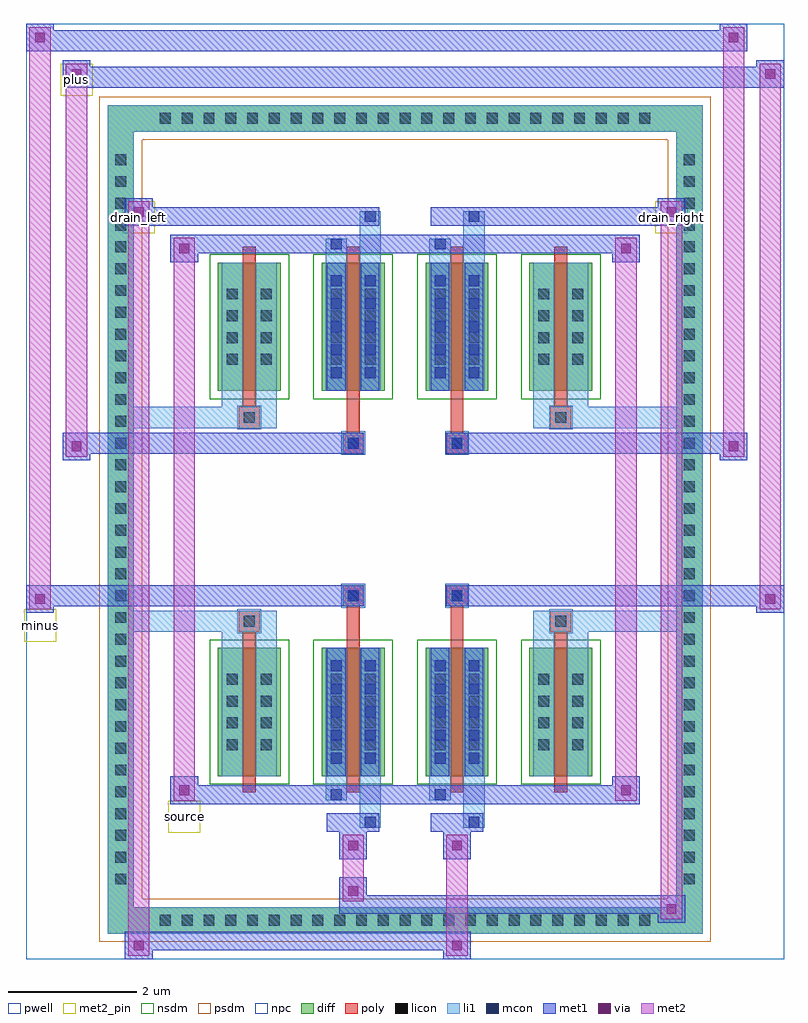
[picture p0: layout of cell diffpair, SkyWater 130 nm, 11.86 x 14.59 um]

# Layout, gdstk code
import gdstk
lib = gdstk.Library(unit=1e-6, precision=5e-09)
def R(c, l, rs):  # rectangles x0, y0, x1, y1
    for r in rs: c.add(gdstk.rectangle(r[:2], r[2:], *l))
def A(c, l, x, y, w, h, nx, ny, dx, dy):  # array of equal rectangles
    R(c, l, [(x+i*dx, y+j*dy, x+i*dx+w, y+j*dy+h) for i in range(nx) for j in range(ny)])
def P(c, l, *ps):  # polygons
    for p in ps: c.add(gdstk.Polygon(p, *l))
pwell = (64, 44)
diff = (65, 20)
poly = (66, 20)
licon = (66, 44)
li1 = (67, 20)
mcon = (67, 44)
met1 = (68, 20)
via = (68, 44)
met2_pin = (69, 16)
met2 = (69, 20)
nsdm = (93, 44)
psdm = (94, 20)
npc = (95, 20)

diffpair = lib.new_cell('diffpair')
R(diffpair, pwell, [(-5.91,-6.86,5.91,7.73), (-3.23,-5.05,-0.01,-0.825), (0.01,-5.05,3.23,-0.825), (-3.23,0.825,-0.01,5.05), (0.01,0.825,3.23,5.05)])
A(diffpair, diff, -3.945, -6.46, 0.41, 0.41, 23, 2, 0.34, 12.51)
A(diffpair, diff, -4.64, -5.815, 0.41, 0.41, 1, 34, 0, 0.34)
A(diffpair, diff, 4.23, -5.815, 0.41, 0.41, 1, 34, 0, 0.34)
A(diffpair, diff, -2.92, -4.005, 0.98, 2, 4, 2, 1.62, 6.01)
R(diffpair, diff, [(-3.945,-6.46,3.945,-6.05), (-4.64,-5.815,-4.23,5.815), (4.23,-5.815,4.64,5.815), (-3.945,6.05,3.945,6.46)])
P(diffpair, diff, [(4.64,6.46),(-4.64,6.46),(-4.64,-6.05),(-4.23,-6.05),(-4.23,6.05),(4.23,6.05),(4.23,-6.05),(-4.23,-6.05),(-4.64,-6.05),(-4.64,-6.46),(4.64,-6.46)])
A(diffpair, poly, -2.53, -4.255, 0.2, 2.5, 4, 2, 1.62, 6.01)
R(diffpair, poly, [(-2.595,-1.755,-2.265,-1.425), (-2.595,-1.755,-2.265,-1.425), (-0.91,-1.755,-0.71,-1.355), (0.71,-1.755,0.91,-1.355), (2.265,-1.755,2.595,-1.425), (2.265,-1.755,2.595,-1.425), (-0.975,-1.355,-0.645,-1.025), (-0.975,-1.355,-0.645,-1.025), (0.645,-1.355,0.975,-1.025), (0.645,-1.355,0.975,-1.025), (-0.975,1.025,-0.645,1.355), (-0.975,1.025,-0.645,1.355), (0.645,1.025,0.975,1.355), (0.645,1.025,0.975,1.355), (-0.91,1.355,-0.71,1.755), (0.71,1.355,0.91,1.755), (-2.595,1.425,-2.265,1.755), (-2.595,1.425,-2.265,1.755), (2.265,1.425,2.595,1.755), (2.265,1.425,2.595,1.755)])
A(diffpair, licon, -3.825, -6.34, 0.17, 0.17, 23, 2, 0.34, 12.51)
A(diffpair, licon, -4.52, -5.695, 0.17, 0.17, 1, 34, 0, 0.34)
A(diffpair, licon, 4.35, -5.695, 0.17, 0.17, 1, 34, 0, 0.34)
A(diffpair, licon, -2.78, -3.6, 0.17, 0.17, 1, 4, 0, 0.34)
A(diffpair, licon, -2.25, -3.6, 0.17, 0.17, 1, 4, 0, 0.34)
A(diffpair, licon, -1.16, -3.6, 0.17, 0.17, 1, 4, 0, 0.34)
A(diffpair, licon, -0.63, -3.6, 0.17, 0.17, 1, 4, 0, 0.34)
A(diffpair, licon, 0.46, -3.6, 0.17, 0.17, 1, 4, 0, 0.34)
A(diffpair, licon, 0.99, -3.6, 0.17, 0.17, 1, 4, 0, 0.34)
A(diffpair, licon, 2.08, -3.6, 0.17, 0.17, 1, 4, 0, 0.34)
A(diffpair, licon, 2.61, -3.6, 0.17, 0.17, 1, 4, 0, 0.34)
A(diffpair, licon, -2.78, 2.41, 0.17, 0.17, 1, 4, 0, 0.34)
A(diffpair, licon, -2.25, 2.41, 0.17, 0.17, 1, 4, 0, 0.34)
A(diffpair, licon, -1.16, 2.41, 0.17, 0.17, 1, 4, 0, 0.34)
A(diffpair, licon, -0.63, 2.41, 0.17, 0.17, 1, 4, 0, 0.34)
A(diffpair, licon, 0.46, 2.41, 0.17, 0.17, 1, 4, 0, 0.34)
A(diffpair, licon, 0.99, 2.41, 0.17, 0.17, 1, 4, 0, 0.34)
A(diffpair, licon, 2.08, 2.41, 0.17, 0.17, 1, 4, 0, 0.34)
A(diffpair, licon, 2.61, 2.41, 0.17, 0.17, 1, 4, 0, 0.34)
R(diffpair, licon, [(-2.515,-1.675,-2.345,-1.505), (2.345,-1.675,2.515,-1.505), (-0.895,-1.275,-0.725,-1.105), (0.725,-1.275,0.895,-1.105), (-0.895,1.105,-0.725,1.275), (0.725,1.105,0.895,1.275), (-2.515,1.505,-2.345,1.675), (2.345,1.505,2.515,1.675)])
A(diffpair, li1, -3.905, -6.42, 0.33, 0.33, 23, 2, 0.34, 12.51)
A(diffpair, li1, -4.6, -5.775, 0.33, 0.33, 1, 34, 0, 0.34)
A(diffpair, li1, 4.27, -5.775, 0.33, 0.33, 1, 34, 0, 0.34)
A(diffpair, li1, -1.16, -3.81, 0.17, 0.17, 1, 5, 0, 0.36)
A(diffpair, li1, -0.63, -3.81, 0.17, 0.17, 1, 5, 0, 0.36)
A(diffpair, li1, 0.46, -3.81, 0.17, 0.17, 1, 5, 0, 0.36)
A(diffpair, li1, 0.99, -3.81, 0.17, 0.17, 1, 5, 0, 0.36)
A(diffpair, li1, -2.86, -3.68, 0.33, 0.33, 1, 4, 0, 0.34)
A(diffpair, li1, -2.33, -3.68, 0.33, 0.33, 1, 4, 0, 0.34)
A(diffpair, li1, -1.24, -3.68, 0.33, 0.33, 1, 4, 0, 0.34)
A(diffpair, li1, -0.71, -3.68, 0.33, 0.33, 1, 4, 0, 0.34)
A(diffpair, li1, 0.38, -3.68, 0.33, 0.33, 1, 4, 0, 0.34)
A(diffpair, li1, 0.91, -3.68, 0.33, 0.33, 1, 4, 0, 0.34)
A(diffpair, li1, 2, -3.68, 0.33, 0.33, 1, 4, 0, 0.34)
A(diffpair, li1, 2.53, -3.68, 0.33, 0.33, 1, 4, 0, 0.34)
A(diffpair, li1, -1.16, 2.2, 0.17, 0.17, 1, 5, 0, 0.36)
A(diffpair, li1, -0.63, 2.2, 0.17, 0.17, 1, 5, 0, 0.36)
A(diffpair, li1, 0.46, 2.2, 0.17, 0.17, 1, 5, 0, 0.36)
A(diffpair, li1, 0.99, 2.2, 0.17, 0.17, 1, 5, 0, 0.36)
A(diffpair, li1, -2.86, 2.33, 0.33, 0.33, 1, 4, 0, 0.34)
A(diffpair, li1, -2.33, 2.33, 0.33, 0.33, 1, 4, 0, 0.34)
A(diffpair, li1, -1.24, 2.33, 0.33, 0.33, 1, 4, 0, 0.34)
A(diffpair, li1, -0.71, 2.33, 0.33, 0.33, 1, 4, 0, 0.34)
A(diffpair, li1, 0.38, 2.33, 0.33, 0.33, 1, 4, 0, 0.34)
A(diffpair, li1, 0.91, 2.33, 0.33, 0.33, 1, 4, 0, 0.34)
A(diffpair, li1, 2, 2.33, 0.33, 0.33, 1, 4, 0, 0.34)
A(diffpair, li1, 2.53, 2.33, 0.33, 0.33, 1, 4, 0, 0.34)
R(diffpair, li1, [(-4.64,-6.46,-4.23,-6.05), (-4.64,-6.46,-4.23,-6.05), (-4.23,-6.46,4.23,-6.05), (4.23,-6.46,4.64,-6.05), (4.23,-6.46,4.64,-6.05), (-4.64,-6.05,-4.23,6.05), (4.23,-6.05,4.64,6.05), (-0.71,-4.81,-0.38,-4.005), (-0.63,-4.81,-0.46,-4.64), (0.91,-4.81,1.24,-4.005), (0.99,-4.81,1.16,-4.64), (-1.24,-4.38,-0.91,-4.005), (-1.16,-4.38,-0.99,-4.21), (0.38,-4.38,0.71,-4.005), (0.46,-4.38,0.63,-4.21), (-2.86,-4.005,-2.53,-2.005), (-2.33,-4.005,-2,-2.005), (-1.24,-4.005,-0.91,-2.005), (-0.71,-4.005,-0.38,-2.005), (0.38,-4.005,0.71,-2.005), (0.91,-4.005,1.24,-2.005), (2,-4.005,2.33,-2.005), (2.53,-4.005,2.86,-2.005), (-1.16,-3.81,-0.99,-2.2), (-0.63,-3.81,-0.46,-2.2), (0.46,-3.81,0.63,-2.2), (0.99,-3.81,1.16,-2.2), (-2.86,-2.005,-2.53,-1.425), (-2.33,-2.005,-2,-1.425), (2,-2.005,2.33,-1.425), (2.53,-2.005,2.86,-1.425), (-4.64,-1.755,-2.595,-1.425), (-2.86,-1.755,-2.595,-1.425), (-2.595,-1.755,-2.265,-1.425), (-2.265,-1.755,-2,-1.425), (2,-1.755,2.265,-1.425), (2.265,-1.755,2.595,-1.425), (2.265,-1.755,4.64,-1.425), (2.595,-1.755,2.86,-1.425), (-0.975,-1.355,-0.645,-1.025), (0.645,-1.355,0.975,-1.025), (-0.975,1.025,-0.645,1.355), (0.645,1.025,0.975,1.355), (-4.64,1.425,-2.595,1.755), (-2.86,1.425,-2.595,1.755), (-2.86,1.425,-2.53,2.005), (-2.595,1.425,-2.265,1.755), (-2.33,1.425,-2,2.005), (-2.265,1.425,-2,1.755), (2,1.425,2.265,1.755), (2,1.425,2.33,2.005), (2.265,1.425,2.595,1.755), (2.265,1.425,4.64,1.755), (2.53,1.425,2.86,2.005), (2.595,1.425,2.86,1.755), (-2.86,2.005,-2.53,4.005), (-2.33,2.005,-2,4.005), (-1.24,2.005,-0.91,4.005), (-0.71,2.005,-0.38,4.005), (0.38,2.005,0.71,4.005), (0.91,2.005,1.24,4.005), (2,2.005,2.33,4.005), (2.53,2.005,2.86,4.005), (-1.16,2.2,-0.99,3.81), (-0.63,2.2,-0.46,3.81), (0.46,2.2,0.63,3.81), (0.99,2.2,1.16,3.81), (-1.24,4.005,-0.91,4.38), (-0.71,4.005,-0.38,4.81), (0.38,4.005,0.71,4.38), (0.91,4.005,1.24,4.81), (-1.16,4.21,-0.99,4.38), (0.46,4.21,0.63,4.38), (-0.63,4.64,-0.46,4.81), (0.99,4.64,1.16,4.81), (-4.64,6.05,-4.23,6.46), (-4.64,6.05,-4.23,6.46), (-4.23,6.05,4.23,6.46), (4.23,6.05,4.64,6.46), (4.23,6.05,4.64,6.46)])
A(diffpair, mcon, -1.16, -3.81, 0.17, 0.17, 1, 5, 0, 0.36)
A(diffpair, mcon, -0.63, -3.81, 0.17, 0.17, 1, 5, 0, 0.36)
A(diffpair, mcon, 0.46, -3.81, 0.17, 0.17, 1, 5, 0, 0.36)
A(diffpair, mcon, 0.99, -3.81, 0.17, 0.17, 1, 5, 0, 0.36)
A(diffpair, mcon, -1.16, 2.2, 0.17, 0.17, 1, 5, 0, 0.36)
A(diffpair, mcon, -0.63, 2.2, 0.17, 0.17, 1, 5, 0, 0.36)
A(diffpair, mcon, 0.46, 2.2, 0.17, 0.17, 1, 5, 0, 0.36)
A(diffpair, mcon, 0.99, 2.2, 0.17, 0.17, 1, 5, 0, 0.36)
R(diffpair, mcon, [(-0.63,-4.81,-0.46,-4.64), (0.99,-4.81,1.16,-4.64), (-1.16,-4.38,-0.99,-4.21), (0.46,-4.38,0.63,-4.21), (-0.895,-1.275,-0.725,-1.105), (0.725,-1.275,0.895,-1.105), (-0.895,1.105,-0.725,1.275), (0.725,1.105,0.895,1.275), (-1.16,4.21,-0.99,4.38), (0.46,4.21,0.63,4.38), (-0.63,4.64,-0.46,4.81), (0.99,4.64,1.16,4.81)])
A(diffpair, met1, -1.22, -3.87, 0.29, 0.29, 1, 5, 0, 0.36)
A(diffpair, met1, -0.69, -3.87, 0.29, 0.29, 1, 5, 0, 0.36)
A(diffpair, met1, 0.4, -3.87, 0.29, 0.29, 1, 5, 0, 0.36)
A(diffpair, met1, 0.93, -3.87, 0.29, 0.29, 1, 5, 0, 0.36)
A(diffpair, met1, -1.22, 2.14, 0.29, 0.29, 1, 5, 0, 0.36)
A(diffpair, met1, -0.69, 2.14, 0.29, 0.29, 1, 5, 0, 0.36)
A(diffpair, met1, 0.4, 2.14, 0.29, 0.29, 1, 5, 0, 0.36)
A(diffpair, met1, 0.93, 2.14, 0.29, 0.29, 1, 5, 0, 0.36)
R(diffpair, met1, [(-4.37,-6.86,-3.94,-6.43), (0.595,-6.86,1.025,-6.43), (-4.37,-6.72,1.025,-6.43), (3.94,-6.29,4.37,-5.86), (-1.025,-6.15,4.37,-5.86), (-1.025,-6.01,-0.595,-5.58), (-1.025,-5.3,-0.595,-4.87), (0.595,-5.3,1.025,-4.87), (-1.22,-4.87,-0.4,-4.58), (-0.69,-4.87,-0.4,-4.58), (0.4,-4.87,1.22,-4.58), (0.93,-4.87,1.22,-4.58), (-3.66,-4.44,-3.23,-4.01), (-3.66,-4.44,-1.22,-4.15), (-1.22,-4.44,-0.93,-4.15), (-1.22,-4.44,-0.4,-4.15), (-0.4,-4.44,0.4,-4.15), (0.4,-4.44,0.69,-4.15), (0.4,-4.44,1.22,-4.15), (1.22,-4.44,3.66,-4.15), (3.23,-4.44,3.66,-4.01), (-1.22,-4.005,-0.93,-2.005), (-0.69,-4.005,-0.4,-2.005), (0.4,-4.005,0.69,-2.005), (0.93,-4.005,1.22,-2.005), (-5.91,-1.455,-5.48,-1.025), (5.48,-1.455,5.91,-1.025), (-5.91,-1.355,-0.645,-1.025), (-0.975,-1.355,-0.645,-1.025), (0.645,-1.355,0.975,-1.025), (0.645,-1.355,5.91,-1.025), (-0.955,-1.335,-0.665,-1.045), (0.665,-1.335,0.955,-1.045), (-5.34,0.925,-4.91,1.355), (4.91,0.925,5.34,1.355), (-5.34,1.025,-0.975,1.355), (-0.975,1.025,-0.645,1.355), (0.645,1.025,0.975,1.355), (0.975,1.025,5.34,1.355), (-0.955,1.045,-0.665,1.335), (0.665,1.045,0.955,1.335), (-1.22,2.005,-0.93,4.005), (-0.69,2.005,-0.4,4.005), (0.4,2.005,0.69,4.005), (0.93,2.005,1.22,4.005), (-3.66,4.01,-3.23,4.44), (3.23,4.01,3.66,4.44), (-3.66,4.15,-1.22,4.44), (-1.22,4.15,-0.93,4.44), (-1.22,4.15,-0.4,4.44), (-0.4,4.15,0.4,4.44), (0.4,4.15,0.69,4.44), (0.4,4.15,1.22,4.44), (1.22,4.15,3.66,4.44), (-4.37,4.58,-3.94,5.01), (-4.37,4.58,-1.22,4.87), (-1.22,4.58,-0.4,4.87), (-0.69,4.58,-0.4,4.87), (0.4,4.58,1.22,4.87), (0.93,4.58,1.22,4.87), (1.22,4.58,4.37,4.87), (3.94,4.58,4.37,5.01), (-5.34,6.73,-4.91,7.16), (-5.34,6.73,-3.23,7.06), (-3.23,6.73,3.23,7.06), (3.23,6.73,5.91,7.06), (5.48,6.73,5.91,7.16), (-5.91,7.3,-5.48,7.73), (-5.91,7.3,-3.23,7.63), (-3.23,7.3,3.23,7.63), (3.23,7.3,5.34,7.63), (4.91,7.3,5.34,7.73)])
R(diffpair, via, [(-4.23,-6.72,-4.08,-6.57), (0.735,-6.72,0.885,-6.57), (4.08,-6.15,4.23,-6), (-0.885,-5.87,-0.735,-5.72), (-0.885,-5.16,-0.735,-5.01), (0.735,-5.16,0.885,-5.01), (-3.52,-4.3,-3.37,-4.15), (3.37,-4.3,3.52,-4.15), (-5.77,-1.315,-5.62,-1.165), (5.62,-1.315,5.77,-1.165), (-5.2,1.065,-5.05,1.215), (5.05,1.065,5.2,1.215), (-3.52,4.15,-3.37,4.3), (3.37,4.15,3.52,4.3), (-4.23,4.72,-4.08,4.87), (4.08,4.72,4.23,4.87), (-5.2,6.87,-5.05,7.02), (5.62,6.87,5.77,7.02), (-5.77,7.44,-5.62,7.59), (5.05,7.44,5.2,7.59)])
R(diffpair, met2_pin, [(-3.695,-4.89,-3.195,-4.39), (-5.945,-1.905,-5.445,-1.405), (-4.405,4.46,-3.905,4.96), (3.905,4.46,4.405,4.96), (-5.375,6.61,-4.875,7.11)])
R(diffpair, met2, [(-4.32,-6.81,-3.99,-6.48), (-4.32,-6.81,-3.99,4.96), (0.645,-6.81,0.975,-6.48), (0.645,-6.48,0.975,-5.25), (3.99,-6.24,4.32,-5.91), (3.99,-6.24,4.32,4.96), (-0.975,-5.96,-0.645,-5.63), (-0.975,-5.63,-0.645,-5.25), (-0.975,-5.25,-0.645,-4.92), (0.645,-5.25,0.975,-4.92), (-3.61,-4.39,-3.28,-4.06), (-3.61,-4.39,-3.28,4.39), (3.28,-4.39,3.61,-4.06), (3.28,-4.39,3.61,4.39), (-5.86,-1.405,-5.53,-1.075), (-5.86,-1.405,-5.53,7.68), (5.53,-1.405,5.86,-1.075), (5.53,-1.405,5.86,7.11), (-5.29,0.975,-4.96,1.305), (-5.29,0.975,-4.96,7.11), (4.96,0.975,5.29,1.305), (4.96,0.975,5.29,7.68), (-3.61,4.06,-3.28,4.39), (3.28,4.06,3.61,4.39), (-4.32,4.63,-3.99,4.96), (3.99,4.63,4.32,4.96), (-5.29,6.78,-4.96,7.11), (5.53,6.78,5.86,7.11), (-5.86,7.35,-5.53,7.68), (4.96,7.35,5.29,7.68)])
P(diffpair, met2, [(5.86,-1.405),(5.86,-1.405),(5.86,-1.075),(5.86,-1.075)],
  [(5.86,6.78),(5.86,6.78),(5.86,7.11),(5.86,7.11)],
  [(-5.53,-1.405),(-5.53,-1.405),(-5.53,-1.075),(-5.53,-1.075)],
  [(-5.53,7.35),(-5.53,7.35),(-5.53,7.68),(-5.53,7.68)],
  [(5.29,0.975),(5.29,0.975),(5.29,1.305),(5.29,1.305)],
  [(5.29,7.35),(5.29,7.35),(5.29,7.68),(5.29,7.68)],
  [(-4.96,0.975),(-4.96,0.975),(-4.96,1.305),(-4.96,1.305)],
  [(-4.96,6.78),(-4.96,6.78),(-4.96,7.11),(-4.96,7.11)],
  [(-3.99,-6.81),(-3.99,-6.81),(-3.99,-6.48),(-3.99,-6.48)],
  [(-3.99,4.63),(-3.99,4.63),(-3.99,4.96),(-3.99,4.96)],
  [(4.32,-6.24),(4.32,-6.24),(4.32,-5.91),(4.32,-5.91)],
  [(4.32,4.63),(4.32,4.63),(4.32,4.96),(4.32,4.96)],
  [(-3.28,-4.39),(-3.28,-4.39),(-3.28,-4.06),(-3.28,-4.06)],
  [(-3.28,4.06),(-3.28,4.06),(-3.28,4.39),(-3.28,4.39)],
  [(3.61,-4.39),(3.61,-4.39),(3.61,-4.06),(3.61,-4.06)],
  [(3.61,4.06),(3.61,4.06),(3.61,4.39),(3.61,4.39)])
A(diffpair, nsdm, -3.05, -4.135, 1.24, 2.26, 4, 2, 1.62, 6.01)
P(diffpair, psdm, [(4.77,6.59),(-4.77,6.59),(-4.77,-5.92),(-4.1,-5.92),(-4.1,5.92),(4.1,5.92),(4.1,-5.92),(-4.1,-5.92),(-4.77,-5.92),(-4.77,-6.59),(4.77,-6.59)])
R(diffpair, npc, [(-2.615,-1.775,-2.245,-1.405), (2.245,-1.775,2.615,-1.405), (-0.995,-1.375,-0.625,-1.005), (0.625,-1.375,0.995,-1.005), (-0.995,1.005,-0.625,1.375), (0.625,1.005,0.995,1.375), (-2.615,1.405,-2.245,1.775), (2.245,1.405,2.615,1.775)])
diffpair.add(gdstk.Label('minus', (-5.695,-1.655), layer=69, texttype=5))
diffpair.add(gdstk.Label('drain_right', (4.155,4.71), layer=69, texttype=5))
diffpair.add(gdstk.Label('drain_left', (-4.155,4.71), layer=69, texttype=5))
diffpair.add(gdstk.Label('source', (-3.445,-4.64), layer=69, texttype=5))
diffpair.add(gdstk.Label('plus', (-5.125,6.86), layer=69, texttype=5))

lib.write_gds('diffpair.gds')
